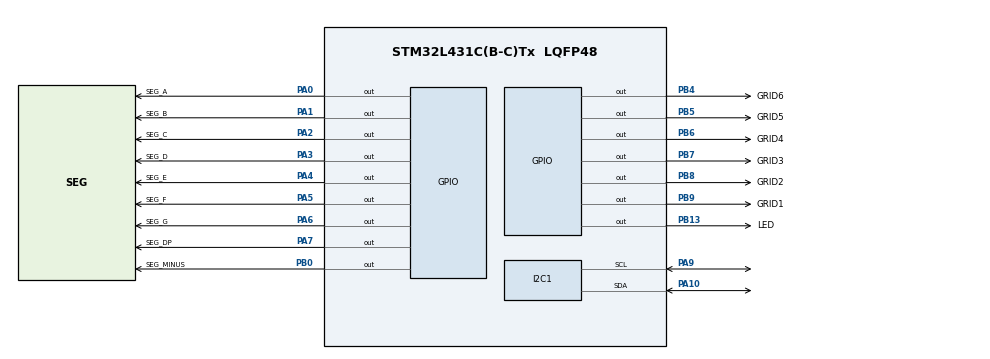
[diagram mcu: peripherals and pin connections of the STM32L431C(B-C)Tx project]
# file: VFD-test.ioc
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Mcu.Family=STM32L4
Mcu.Name=STM32L431C(B-C)Tx
Mcu.Package=LQFP48
NVIC.PriorityGroup=NVIC_PRIORITYGROUP_4
PA0.GPIO_Label=SEG_A
PA0.Signal=GPIO_Output
PA1.GPIO_Label=SEG_B
PA1.Signal=GPIO_Output
PA10.Mode=I2C
PA10.Signal=I2C1_SDA
PA13\ (JTMS-SWDIO).Mode=Trace_Asynchronous_SW
PA13\ (JTMS-SWDIO).Signal=SYS_JTMS-SWDIO
PA14\ (JTCK-SWCLK).Mode=Trace_Asynchronous_SW
PA14\ (JTCK-SWCLK).Signal=SYS_JTCK-SWCLK
PA2.GPIO_Label=SEG_C
PA2.Signal=GPIO_Output
PA3.GPIO_Label=SEG_D
PA3.Signal=GPIO_Output
PA4.GPIO_Label=SEG_E
PA4.Signal=GPIO_Output
PA5.GPIO_Label=SEG_F
PA5.Signal=GPIO_Output
PA6.GPIO_Label=SEG_G
PA6.Signal=GPIO_Output
PA7.GPIO_Label=SEG_DP
PA7.Signal=GPIO_Output
PA9.Mode=I2C
PA9.Signal=I2C1_SCL
PB0.GPIO_Label=SEG_MINUS
PB0.Signal=GPIO_Output
PB13.GPIO_Label=LED
PB13.Signal=GPIO_Output
PB3\ (JTDO-TRACESWO).Mode=Trace_Asynchronous_SW
PB3\ (JTDO-TRACESWO).Signal=SYS_JTDO-SWO
PB4\ (NJTRST).GPIO_Label=GRID6
PB4\ (NJTRST).Signal=GPIO_Output
PB5.GPIO_Label=GRID5
PB5.Signal=GPIO_Output
PB6.GPIO_Label=GRID4
PB6.Signal=GPIO_Output
PB7.GPIO_Label=GRID3
PB7.Signal=GPIO_Output
PB8.GPIO_Label=GRID2
PB8.Signal=GPIO_Output
PB9.GPIO_Label=GRID1
PB9.Signal=GPIO_Output
PC14-OSC32_IN\ (PC14).Mode=LSE-External-Oscillator
PC14-OSC32_IN\ (PC14).Signal=RCC_OSC32_IN
PC15-OSC32_OUT\ (PC15).Mode=LSE-External-Oscillator
PC15-OSC32_OUT\ (PC15).Signal=RCC_OSC32_OUT
ProjectManager.HeapSize=0x200
ProjectManager.StackSize=0x400
ProjectManager.TargetToolchain=STM32CubeIDE
RCC.HSE_VALUE=8000000
RCC.HSI48_VALUE=48000000
RCC.HSI_VALUE=16000000
RCC.MSI_VALUE=4000000
RCC.RTCClockSelection=RCC_RTCCLKSOURCE_LSE
RCC.VCOOutputFreq_Value=32000000
VP_RTC_VS_RTC_Activate.Mode=RTC_Enabled
board=custom

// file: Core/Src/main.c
/* USER CODE BEGIN Header */
/**
 ******************************************************************************
 * @file           : main.c
 * @brief          : Main program body
 ******************************************************************************
 * @attention
 *
 * Copyright (c) 2024 STMicroelectronics.
 * All rights reserved.
 *
 * This software is licensed under terms that can be found in the LICENSE file
 * in the root directory of this software component.
 * If no LICENSE file comes with this software, it is provided AS-IS.
 *
 ******************************************************************************
 */
/* USER CODE END Header */
#include "main.h"

I2C_HandleTypeDef hi2c1;

RTC_HandleTypeDef hrtc;

void SystemClock_Config(void);
static void MX_GPIO_Init(void);
static void MX_I2C1_Init(void);
static void MX_RTC_Init(void);

/* USER CODE BEGIN 0 */

/*
 * 1桁 表示は「8」
 18V 0.54W 30mA
 */

uint8_t segmentPatterns[16] = {
		0x3F, // 0: 0111111
		0x06, // 1: 0000110
		0x5B, // 2: 1011011
		0x4F, // 3: 1001111
		0x66, // 4: 1100110
		0x6D, // 5: 1101101
		0x7D, // 6: 1111101
		0x07, // 7: 0000111
		0x7F, // 8: 1111111
		0x6F, // 9: 1101111
		0x77, // A: 1110111
		0x7C, // B: 1111100
		0x39, // C: 0111001
		0x5E, // D: 1011110
		0x79, // E: 1111001
		0x71  // F: 1110001
};
void litBit(uint8_t data){
	HAL_GPIO_WritePin(SEG_A_GPIO_Port, SEG_A_Pin, (data & 0x01) ? GPIO_PIN_SET : GPIO_PIN_RESET);
	HAL_GPIO_WritePin(SEG_B_GPIO_Port, SEG_B_Pin, (data & 0x02) ? GPIO_PIN_SET : GPIO_PIN_RESET);
	HAL_GPIO_WritePin(SEG_C_GPIO_Port, SEG_C_Pin, (data & 0x04) ? GPIO_PIN_SET : GPIO_PIN_RESET);
	HAL_GPIO_WritePin(SEG_D_GPIO_Port, SEG_D_Pin, (data & 0x08) ? GPIO_PIN_SET : GPIO_PIN_RESET);
	HAL_GPIO_WritePin(SEG_E_GPIO_Port, SEG_E_Pin, (data & 0x10) ? GPIO_PIN_SET : GPIO_PIN_RESET);
	HAL_GPIO_WritePin(SEG_F_GPIO_Port, SEG_F_Pin, (data & 0x20) ? GPIO_PIN_SET : GPIO_PIN_RESET);
	HAL_GPIO_WritePin(SEG_G_GPIO_Port, SEG_G_Pin, (data & 0x40) ? GPIO_PIN_SET : GPIO_PIN_RESET);
	HAL_GPIO_WritePin(SEG_DP_GPIO_Port, SEG_DP_Pin, (data & 0x80) ? GPIO_PIN_SET : GPIO_PIN_RESET);
}

void displayNumber(uint8_t number){
	if (0 <= number && number <= 0x0F){
		litBit(segmentPatterns[number]);
	}
}

void enableDigit(uint8_t digit){
	switch(digit){
	case 0:
		HAL_GPIO_WritePin(GRID1_GPIO_Port, GRID1_Pin, GPIO_PIN_SET);
		break;
	case 1:
		HAL_GPIO_WritePin(GRID2_GPIO_Port, GRID2_Pin, GPIO_PIN_SET);
		break;
	case 2:
		HAL_GPIO_WritePin(GRID3_GPIO_Port, GRID3_Pin, GPIO_PIN_SET);
		break;
	case 3:
		HAL_GPIO_WritePin(GRID4_GPIO_Port, GRID4_Pin, GPIO_PIN_SET);
		break;
	case 4:
		HAL_GPIO_WritePin(GRID5_GPIO_Port, GRID5_Pin, GPIO_PIN_SET);
		break;
	case 5:
		HAL_GPIO_WritePin(GRID6_GPIO_Port, GRID6_Pin, GPIO_PIN_SET);
		break;
	}
}

void disableDigit(uint8_t digit){
	switch(digit){
	case 0:
		HAL_GPIO_WritePin(GRID1_GPIO_Port, GRID1_Pin, GPIO_PIN_RESET);
		break;
	case 1:
		HAL_GPIO_WritePin(GRID2_GPIO_Port, GRID2_Pin, GPIO_PIN_RESET);
		break;
	case 2:
		HAL_GPIO_WritePin(GRID3_GPIO_Port, GRID3_Pin, GPIO_PIN_RESET);
		break;
	case 3:
		HAL_GPIO_WritePin(GRID4_GPIO_Port, GRID4_Pin, GPIO_PIN_RESET);
		break;
	case 4:
		HAL_GPIO_WritePin(GRID5_GPIO_Port, GRID5_Pin, GPIO_PIN_RESET);
		break;
	case 5:
		HAL_GPIO_WritePin(GRID6_GPIO_Port, GRID6_Pin, GPIO_PIN_RESET);
		break;
	}
}

void disableAllDigit(){
	HAL_GPIO_WritePin(GRID1_GPIO_Port, GRID1_Pin, GPIO_PIN_RESET);
	HAL_GPIO_WritePin(GRID2_GPIO_Port, GRID2_Pin, GPIO_PIN_RESET);
	HAL_GPIO_WritePin(GRID3_GPIO_Port, GRID3_Pin, GPIO_PIN_RESET);
	HAL_GPIO_WritePin(GRID4_GPIO_Port, GRID4_Pin, GPIO_PIN_RESET);
	HAL_GPIO_WritePin(GRID5_GPIO_Port, GRID5_Pin, GPIO_PIN_RESET);
	HAL_GPIO_WritePin(GRID6_GPIO_Port, GRID6_Pin, GPIO_PIN_RESET);
}

/* USER CODE END 0 */

int main(void)
{

	/* MCU Configuration--------------------------------------------------------*/

	/* Reset of all peripherals, Initializes the Flash interface and the Systick. */
	HAL_Init();

	/* Configure the system clock */
	SystemClock_Config();

	/* Initialize all configured peripherals */
	MX_GPIO_Init();
	MX_I2C1_Init();
	MX_RTC_Init();

	/* Infinite loop */
	/* USER CODE BEGIN WHILE */
	uint8_t ct = 0;
	RTC_DateTypeDef gDate;
	RTC_TimeTypeDef gTime;
	disableAllDigit();
#define DIGIT_DELAY 2
	while (1)
	{
		/* USER CODE END WHILE */

		/* USER CODE BEGIN 3 */
		HAL_RTC_GetTime(&hrtc, &gTime, RTC_FORMAT_BIN);
		HAL_RTC_GetDate(&hrtc, &gDate, RTC_FORMAT_BCD);

		disableDigit(5); enableDigit(0);
		displayNumber(gTime.Seconds % 10);
		HAL_Delay(DIGIT_DELAY);

		disableDigit(0); enableDigit(1);
		displayNumber(gTime.Seconds / 10);
		HAL_Delay(DIGIT_DELAY);

		disableDigit(1); enableDigit(2);
		displayNumber(gTime.Minutes % 10);
		HAL_Delay(DIGIT_DELAY);
		disableDigit(2); enableDigit(3);
		displayNumber(gTime.Minutes / 10);
		HAL_Delay(DIGIT_DELAY);

		disableDigit(3); enableDigit(4);
		displayNumber(gTime.Hours % 10);
		HAL_Delay(DIGIT_DELAY);
		disableDigit(4); enableDigit(5);
		displayNumber(gTime.Hours / 10);
		HAL_Delay(DIGIT_DELAY);

		//			printf("Current time is %02d:%02d:%02d\n", gTime.Hours, gTime.Minutes, gTime.Seconds);

	}
	/* USER CODE END 3 */
}

void SystemClock_Config(void)
{
	RCC_OscInitTypeDef RCC_OscInitStruct = {0};
	RCC_ClkInitTypeDef RCC_ClkInitStruct = {0};

	/** Configure the main internal regulator output voltage
	 */
	if (HAL_PWREx_ControlVoltageScaling(PWR_REGULATOR_VOLTAGE_SCALE1) != HAL_OK)
	{
		Error_Handler();
	}

	/** Configure LSE Drive Capability
	 */
	HAL_PWR_EnableBkUpAccess();
	__HAL_RCC_LSEDRIVE_CONFIG(RCC_LSEDRIVE_LOW);

	/** Initializes the RCC Oscillators according to the specified parameters
	 * in the RCC_OscInitTypeDef structure.
	 */
	RCC_OscInitStruct.OscillatorType = RCC_OSCILLATORTYPE_LSE|RCC_OSCILLATORTYPE_MSI;
	RCC_OscInitStruct.LSEState = RCC_LSE_ON;
	RCC_OscInitStruct.MSIState = RCC_MSI_ON;
	RCC_OscInitStruct.MSICalibrationValue = 0;
	RCC_OscInitStruct.MSIClockRange = RCC_MSIRANGE_6;
	RCC_OscInitStruct.PLL.PLLState = RCC_PLL_NONE;
	if (HAL_RCC_OscConfig(&RCC_OscInitStruct) != HAL_OK)
	{
		Error_Handler();
	}

	/** Initializes the CPU, AHB and APB buses clocks
	 */
	RCC_ClkInitStruct.ClockType = RCC_CLOCKTYPE_HCLK|RCC_CLOCKTYPE_SYSCLK
			|RCC_CLOCKTYPE_PCLK1|RCC_CLOCKTYPE_PCLK2;
	RCC_ClkInitStruct.SYSCLKSource = RCC_SYSCLKSOURCE_MSI;
	RCC_ClkInitStruct.AHBCLKDivider = RCC_SYSCLK_DIV1;
	RCC_ClkInitStruct.APB1CLKDivider = RCC_HCLK_DIV1;
	RCC_ClkInitStruct.APB2CLKDivider = RCC_HCLK_DIV1;

	if (HAL_RCC_ClockConfig(&RCC_ClkInitStruct, FLASH_LATENCY_0) != HAL_OK)
	{
		Error_Handler();
	}

	/** Enable MSI Auto calibration
	 */
	HAL_RCCEx_EnableMSIPLLMode();
}

static void MX_I2C1_Init(void)
{

	hi2c1.Instance = I2C1;
	hi2c1.Init.Timing = 0x00000E14;
	hi2c1.Init.OwnAddress1 = 0;
	hi2c1.Init.AddressingMode = I2C_ADDRESSINGMODE_7BIT;
	hi2c1.Init.DualAddressMode = I2C_DUALADDRESS_DISABLE;
	hi2c1.Init.OwnAddress2 = 0;
	hi2c1.Init.OwnAddress2Masks = I2C_OA2_NOMASK;
	hi2c1.Init.GeneralCallMode = I2C_GENERALCALL_DISABLE;
	hi2c1.Init.NoStretchMode = I2C_NOSTRETCH_DISABLE;
	if (HAL_I2C_Init(&hi2c1) != HAL_OK)
	{
		Error_Handler();
	}

	/** Configure Analogue filter
	 */
	if (HAL_I2CEx_ConfigAnalogFilter(&hi2c1, I2C_ANALOGFILTER_ENABLE) != HAL_OK)
	{
		Error_Handler();
	}

	/** Configure Digital filter
	 */
	if (HAL_I2CEx_ConfigDigitalFilter(&hi2c1, 0) != HAL_OK)
	{
		Error_Handler();
	}

}

static void MX_RTC_Init(void)
{

	/** Initialize RTC Only
	 */
	hrtc.Instance = RTC;
	hrtc.Init.HourFormat = RTC_HOURFORMAT_24;
	hrtc.Init.AsynchPrediv = 127;
	hrtc.Init.SynchPrediv = 255;
	hrtc.Init.OutPut = RTC_OUTPUT_DISABLE;
	hrtc.Init.OutPutRemap = RTC_OUTPUT_REMAP_NONE;
	hrtc.Init.OutPutPolarity = RTC_OUTPUT_POLARITY_HIGH;
	hrtc.Init.OutPutType = RTC_OUTPUT_TYPE_OPENDRAIN;
	if (HAL_RTC_Init(&hrtc) != HAL_OK)
	{
		Error_Handler();
	}
	/* USER CODE BEGIN RTC_Init 2 */
#define MAGIC_NO 0x1200

	if(HAL_RTCEx_BKUPRead(&hrtc, RTC_BKP_DR0) != MAGIC_NO)
	{
		RTC_TimeTypeDef sTime = {0};
		RTC_DateTypeDef sDate = {0};

		sTime.Hours = 14;
		sTime.Minutes = 41;
		sTime.Seconds = 40;
		if (HAL_RTC_SetTime(&hrtc, &sTime, RTC_FORMAT_BIN) != HAL_OK)
		{
			Error_Handler();
		}
		sDate.WeekDay = RTC_WEEKDAY_SUNDAY;
		sDate.Month = RTC_MONTH_FEBRUARY;
		sDate.Date = 18;
		sDate.Year = 24;
		if (HAL_RTC_SetDate(&hrtc, &sDate, RTC_FORMAT_BIN) != HAL_OK)
		{
			Error_Handler();

		}
		HAL_RTCEx_BKUPWrite(&hrtc, RTC_BKP_DR0, MAGIC_NO);
	}
	/* USER CODE END RTC_Init 2 */

}

static void MX_GPIO_Init(void)
{
	GPIO_InitTypeDef GPIO_InitStruct = {0};

	/* GPIO Ports Clock Enable */
	__HAL_RCC_GPIOC_CLK_ENABLE();
	__HAL_RCC_GPIOA_CLK_ENABLE();
	__HAL_RCC_GPIOB_CLK_ENABLE();

	/*Configure GPIO pin Output Level */
	HAL_GPIO_WritePin(GPIOA, SEG_A_Pin|SEG_B_Pin|SEG_C_Pin|SEG_D_Pin
			|SEG_E_Pin|SEG_F_Pin|SEG_G_Pin|SEG_DP_Pin, GPIO_PIN_RESET);

	/*Configure GPIO pin Output Level */
	HAL_GPIO_WritePin(GPIOB, SEG_MINUS_Pin|LED_Pin|GRID6_Pin|GRID5_Pin
			|GRID4_Pin|GRID3_Pin|GRID2_Pin|GRID1_Pin, GPIO_PIN_RESET);

	/*Configure GPIO pins : SEG_A_Pin SEG_B_Pin SEG_C_Pin SEG_D_Pin
                           SEG_E_Pin SEG_F_Pin SEG_G_Pin SEG_DP_Pin */
	GPIO_InitStruct.Pin = SEG_A_Pin|SEG_B_Pin|SEG_C_Pin|SEG_D_Pin
			|SEG_E_Pin|SEG_F_Pin|SEG_G_Pin|SEG_DP_Pin;
	GPIO_InitStruct.Mode = GPIO_MODE_OUTPUT_PP;
	GPIO_InitStruct.Pull = GPIO_NOPULL;
	GPIO_InitStruct.Speed = GPIO_SPEED_FREQ_LOW;
	HAL_GPIO_Init(GPIOA, &GPIO_InitStruct);

	/*Configure GPIO pins : SEG_MINUS_Pin LED_Pin GRID6_Pin GRID5_Pin
                           GRID4_Pin GRID3_Pin GRID2_Pin GRID1_Pin */
	GPIO_InitStruct.Pin = SEG_MINUS_Pin|LED_Pin|GRID6_Pin|GRID5_Pin
			|GRID4_Pin|GRID3_Pin|GRID2_Pin|GRID1_Pin;
	GPIO_InitStruct.Mode = GPIO_MODE_OUTPUT_PP;
	GPIO_InitStruct.Pull = GPIO_NOPULL;
	GPIO_InitStruct.Speed = GPIO_SPEED_FREQ_LOW;
	HAL_GPIO_Init(GPIOB, &GPIO_InitStruct);

}

void Error_Handler(void)
{
	__disable_irq();
	while (1)
	{
	}
}
